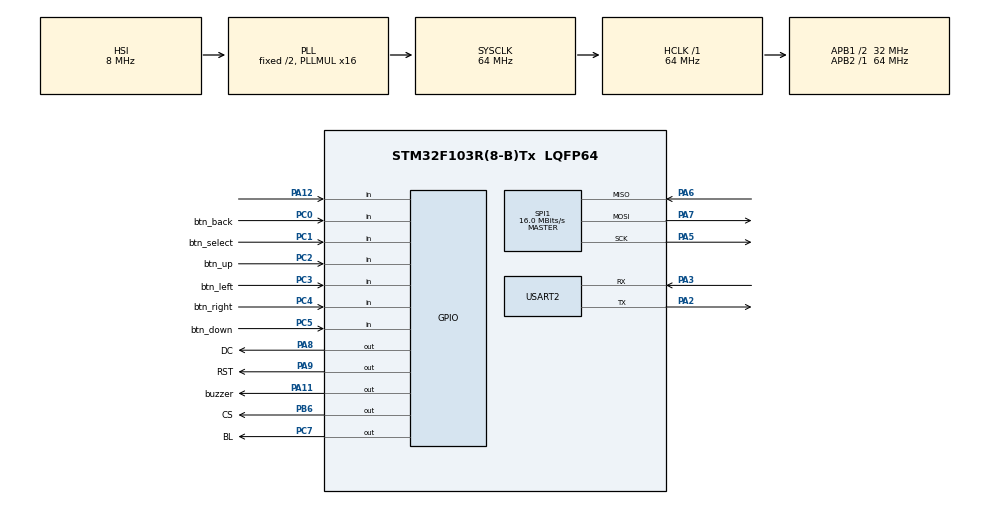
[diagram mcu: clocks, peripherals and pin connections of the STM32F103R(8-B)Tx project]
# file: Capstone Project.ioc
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Mcu.Family=STM32F1
Mcu.Name=STM32F103R(8-B)Tx
Mcu.Package=LQFP64
NVIC.PriorityGroup=NVIC_PRIORITYGROUP_4
PA11.GPIO_Label=buzzer
PA11.Signal=GPIO_Output
PA12.Signal=GPIO_Input
PA13.Mode=Serial_Wire
PA13.Signal=SYS_JTMS-SWDIO
PA14.Mode=Serial_Wire
PA14.Signal=SYS_JTCK-SWCLK
PA2.Mode=Asynchronous
PA2.Signal=USART2_TX
PA3.Mode=Asynchronous
PA3.Signal=USART2_RX
PA5.Mode=Full_Duplex_Master
PA5.Signal=SPI1_SCK
PA6.Mode=Full_Duplex_Master
PA6.Signal=SPI1_MISO
PA7.Mode=Full_Duplex_Master
PA7.Signal=SPI1_MOSI
PA8.GPIO_Label=DC
PA8.PinState=GPIO_PIN_SET
PA8.Signal=GPIO_Output
PA9.GPIO_Label=RST
PA9.PinState=GPIO_PIN_SET
PA9.Signal=GPIO_Output
PB6.GPIO_Label=CS
PB6.PinState=GPIO_PIN_SET
PB6.Signal=GPIO_Output
PC0.GPIO_Label=btn_back
PC0.Signal=GPIO_Input
PC1.GPIO_Label=btn_select
PC1.Signal=GPIO_Input
PC2.GPIO_Label=btn_up
PC2.Signal=GPIO_Input
PC3.GPIO_Label=btn_left
PC3.Signal=GPIO_Input
PC4.GPIO_Label=btn_right
PC4.Signal=GPIO_Input
PC5.GPIO_Label=btn_down
PC5.Signal=GPIO_Input
PC7.GPIO_Label=BL
PC7.PinState=GPIO_PIN_SET
PC7.Signal=GPIO_Output
PD0-OSC_IN.Mode=HSE-External-Clock-Source
PD0-OSC_IN.Signal=RCC_OSC_IN
PD1-OSC_OUT.Mode=HSE-External-Clock-Source
PD1-OSC_OUT.Signal=RCC_OSC_OUT
ProjectManager.HeapSize=0x200
ProjectManager.StackSize=0x400
ProjectManager.TargetToolchain=STM32CubeIDE
RCC.AHBFreq_Value=64000000
RCC.APB1CLKDivider=RCC_HCLK_DIV2
RCC.APB1Freq_Value=32000000
RCC.APB1TimFreq_Value=64000000
RCC.APB2Freq_Value=64000000
RCC.APB2TimFreq_Value=64000000
RCC.HCLKFreq_Value=64000000
RCC.PLLMUL=RCC_PLL_MUL16
RCC.RTCClockSelection=RCC_RTCCLKSOURCE_LSE
RCC.SYSCLKFreq_VALUE=64000000
RCC.SYSCLKSource=RCC_SYSCLKSOURCE_PLLCLK
RCC.USBFreq_Value=64000000
SPI1.BaudRatePrescaler=SPI_BAUDRATEPRESCALER_4
SPI1.CalculateBaudRate=16.0 MBits/s
SPI1.Direction=SPI_DIRECTION_2LINES
SPI1.Mode=SPI_MODE_MASTER
SPI1.VirtualType=VM_MASTER
USART2.VirtualMode=VM_ASYNC
board=NUCLEO-F103RB

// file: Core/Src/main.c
/* USER CODE BEGIN Header */
/**
 ******************************************************************************
 * @file           : main.c
 * @brief          : Main program body
 ******************************************************************************
 * @attention
 *
 * Copyright (c) 2025 STMicroelectronics.
 * All rights reserved.
 *
 * This software is licensed under terms that can be found in the LICENSE file
 * in the root directory of this software component.
 * If no LICENSE file comes with this software, it is provided AS-IS.
 *
 ******************************************************************************
 */
/* USER CODE END Header */
#include "main.h"

/* USER CODE BEGIN Includes */
#include <string.h>
#include <time.h>
#include <stdlib.h>

#include "menu_main.h"
#include "lcd_driver.h"
#include "input.h"
#include "buzzer_driver.h"

/* USER CODE END Includes */

/* USER CODE BEGIN PD */

#define MENU_ITEMS     2

#define LCD_CS_Pin GPIO_PIN_6

#define LCD_CS_GPIO_Port GPIOB

#define LCD_DC_Pin GPIO_PIN_8

#define LCD_DC_GPIO_Port GPIOA

#define LCD_RST_Pin GPIO_PIN_9

#define LCD_RST_GPIO_Port GPIOA
/* USER CODE END PD */

SPI_HandleTypeDef hspi1;

UART_HandleTypeDef huart2;

void SystemClock_Config(void);
static void MX_GPIO_Init(void);
static void MX_SPI1_Init(void);
static void MX_USART2_UART_Init(void);

/* USER CODE BEGIN 0 */
void SystemClock_Config(void);

static void MX_GPIO_Init(void);

static void MX_SPI1_Init(void);

/* USER CODE END 0 */

int main(void) {

	/* MCU Configuration--------------------------------------------------------*/

	/* Reset of all peripherals, Initializes the Flash interface and the Systick. */
	HAL_Init();

	/* Configure the system clock */
	SystemClock_Config();

	/* Initialize all configured peripherals */
	MX_GPIO_Init();
	MX_SPI1_Init();
	MX_USART2_UART_Init();
	/* USER CODE BEGIN 2 */
	// Initialize random seed only once
//  srand(time(NULL));
//  displayStartup();
	// Initialize the LCD
	LCD_Init();

	// Clear the screen to black
	LCD_Clear(BLACK);

	// Test 1: Draw a red 50x50 square at (10, 10)
	LCD_SetWindow(10, 10, 59, 59); // 50x50 area
	uint8_t red_data[50 * 50 * 2]; // 2 bytes per pixel
	for (uint32_t i = 0; i < 50 * 50; i++) {
		red_data[i * 2] = RED >> 8;      // High byte
		red_data[i * 2 + 1] = RED & 0xFF; // Low byte
	}
	LCD_WriteDataBlock(red_data, 50 * 50 * 2);

	// Test 2: Draw a green 30x30 square at (70, 70)
	LCD_SetWindow(70, 70, 99, 99); // 30x30 area
	uint8_t green_data[30 * 30 * 2];
	for (uint32_t i = 0; i < 30 * 30; i++) {
		green_data[i * 2] = GREEN >> 8;
		green_data[i * 2 + 1] = GREEN & 0xFF;
	}
	LCD_WriteDataBlock(green_data, 30 * 30 * 2);

	// Test 3: Draw a blue 20x20 square at (110, 110)
	LCD_SetWindow(110, 110, 129, 129); // 20x20 area
	uint8_t blue_data[20 * 20 * 2];
	for (uint32_t i = 0; i < 20 * 20; i++) {
		blue_data[i * 2] = BLUE >> 8;
		blue_data[i * 2 + 1] = BLUE & 0xFF;
	}
	LCD_WriteDataBlock(blue_data, 20 * 20 * 2);

	// Infinite loop to keep display visible
	while (1) {
		HAL_Delay(1000); // Optional: just to keep the MCU alive
	}
	// BUZZER TEST PROGRAM
//	while (1) {
//	    toggle_PA11();  // Toggle PA                                                                                                                                                                                                                                                                                                                                                                                                                                                                                                                                                                                                                                                                                                       11
//	    HAL_Delay(5); // 5ms delay
//	}
	/* USER CODE END 2 */

	/* Infinite loop */
	while (1) {
//		displayMenu();
	}
}

void SystemClock_Config(void) {
	RCC_OscInitTypeDef RCC_OscInitStruct = { 0 };
	RCC_ClkInitTypeDef RCC_ClkInitStruct = { 0 };

	/** Initializes the RCC Oscillators according to the specified parameters
	 * in the RCC_OscInitTypeDef structure.
	 */
	RCC_OscInitStruct.OscillatorType = RCC_OSCILLATORTYPE_HSI;
	RCC_OscInitStruct.HSIState = RCC_HSI_ON;
	RCC_OscInitStruct.HSICalibrationValue = RCC_HSICALIBRATION_DEFAULT;
	RCC_OscInitStruct.PLL.PLLState = RCC_PLL_ON;
	RCC_OscInitStruct.PLL.PLLSource = RCC_PLLSOURCE_HSI_DIV2;
	RCC_OscInitStruct.PLL.PLLMUL = RCC_PLL_MUL16;
	if (HAL_RCC_OscConfig(&RCC_OscInitStruct) != HAL_OK) {
		Error_Handler();
	}

	/** Initializes the CPU, AHB and APB buses clocks
	 */
	RCC_ClkInitStruct.ClockType = RCC_CLOCKTYPE_HCLK | RCC_CLOCKTYPE_SYSCLK
			| RCC_CLOCKTYPE_PCLK1 | RCC_CLOCKTYPE_PCLK2;
	RCC_ClkInitStruct.SYSCLKSource = RCC_SYSCLKSOURCE_PLLCLK;
	RCC_ClkInitStruct.AHBCLKDivider = RCC_SYSCLK_DIV1;
	RCC_ClkInitStruct.APB1CLKDivider = RCC_HCLK_DIV2;
	RCC_ClkInitStruct.APB2CLKDivider = RCC_HCLK_DIV1;

	if (HAL_RCC_ClockConfig(&RCC_ClkInitStruct, FLASH_LATENCY_2) != HAL_OK) {
		Error_Handler();
	}
}

static void MX_SPI1_Init(void) {

	/* SPI1 parameter configuration*/
	hspi1.Instance = SPI1;
	hspi1.Init.Mode = SPI_MODE_MASTER;
	hspi1.Init.Direction = SPI_DIRECTION_2LINES;
	hspi1.Init.DataSize = SPI_DATASIZE_8BIT;
	hspi1.Init.CLKPolarity = SPI_POLARITY_LOW;
	hspi1.Init.CLKPhase = SPI_PHASE_1EDGE;
	hspi1.Init.NSS = SPI_NSS_SOFT;
	hspi1.Init.BaudRatePrescaler = SPI_BAUDRATEPRESCALER_4;
	hspi1.Init.FirstBit = SPI_FIRSTBIT_MSB;
	hspi1.Init.TIMode = SPI_TIMODE_DISABLE;
	hspi1.Init.CRCCalculation = SPI_CRCCALCULATION_DISABLE;
	hspi1.Init.CRCPolynomial = 10;
	if (HAL_SPI_Init(&hspi1) != HAL_OK) {
		Error_Handler();
	}

}

static void MX_USART2_UART_Init(void) {

	huart2.Instance = USART2;
	huart2.Init.BaudRate = 115200;
	huart2.Init.WordLength = UART_WORDLENGTH_8B;
	huart2.Init.StopBits = UART_STOPBITS_1;
	huart2.Init.Parity = UART_PARITY_NONE;
	huart2.Init.Mode = UART_MODE_TX_RX;
	huart2.Init.HwFlowCtl = UART_HWCONTROL_NONE;
	huart2.Init.OverSampling = UART_OVERSAMPLING_16;
	if (HAL_UART_Init(&huart2) != HAL_OK) {
		Error_Handler();
	}

}

static void MX_GPIO_Init(void) {
	GPIO_InitTypeDef GPIO_InitStruct = { 0 };

	/* GPIO Ports Clock Enable */
	__HAL_RCC_GPIOD_CLK_ENABLE();
	__HAL_RCC_GPIOC_CLK_ENABLE();
	__HAL_RCC_GPIOA_CLK_ENABLE();
	__HAL_RCC_GPIOB_CLK_ENABLE();

	/*Configure GPIO pin Output Level */
	HAL_GPIO_WritePin(BL_GPIO_Port, BL_Pin, GPIO_PIN_SET);

	/*Configure GPIO pin Output Level */
	HAL_GPIO_WritePin(GPIOA, DC_Pin | RST_Pin, GPIO_PIN_SET);

	/*Configure GPIO pin Output Level */
	HAL_GPIO_WritePin(buzzer_GPIO_Port, buzzer_Pin, GPIO_PIN_RESET);

	/*Configure GPIO pin Output Level */
	HAL_GPIO_WritePin(CS_GPIO_Port, CS_Pin, GPIO_PIN_SET);

	/*Configure GPIO pins : btn_back_Pin btn_select_Pin btn_up_Pin btn_left_Pin
	 btn_right_Pin btn_down_Pin */
	GPIO_InitStruct.Pin = btn_back_Pin | btn_select_Pin | btn_up_Pin
			| btn_left_Pin | btn_right_Pin | btn_down_Pin;
	GPIO_InitStruct.Mode = GPIO_MODE_INPUT;
	GPIO_InitStruct.Pull = GPIO_NOPULL;
	HAL_GPIO_Init(GPIOC, &GPIO_InitStruct);

	/*Configure GPIO pin : BL_Pin */
	GPIO_InitStruct.Pin = BL_Pin;
	GPIO_InitStruct.Mode = GPIO_MODE_OUTPUT_PP;
	GPIO_InitStruct.Pull = GPIO_NOPULL;
	GPIO_InitStruct.Speed = GPIO_SPEED_FREQ_LOW;
	HAL_GPIO_Init(BL_GPIO_Port, &GPIO_InitStruct);

	/*Configure GPIO pins : DC_Pin RST_Pin buzzer_Pin */
	GPIO_InitStruct.Pin = DC_Pin | RST_Pin | buzzer_Pin;
	GPIO_InitStruct.Mode = GPIO_MODE_OUTPUT_PP;
	GPIO_InitStruct.Pull = GPIO_NOPULL;
	GPIO_InitStruct.Speed = GPIO_SPEED_FREQ_LOW;
	HAL_GPIO_Init(GPIOA, &GPIO_InitStruct);

	/*Configure GPIO pin : PA12 */
	GPIO_InitStruct.Pin = GPIO_PIN_12;
	GPIO_InitStruct.Mode = GPIO_MODE_INPUT;
	GPIO_InitStruct.Pull = GPIO_NOPULL;
	HAL_GPIO_Init(GPIOA, &GPIO_InitStruct);

	/*Configure GPIO pin : CS_Pin */
	GPIO_InitStruct.Pin = CS_Pin;
	GPIO_InitStruct.Mode = GPIO_MODE_OUTPUT_PP;
	GPIO_InitStruct.Pull = GPIO_NOPULL;
	GPIO_InitStruct.Speed = GPIO_SPEED_FREQ_LOW;
	HAL_GPIO_Init(CS_GPIO_Port, &GPIO_InitStruct);

}

/* USER CODE BEGIN 4 */
void print(char *str) {
	// Calculate the length of the string
	uint16_t len = strlen(str);

	// Transmit the string over UART2
	HAL_UART_Transmit(&huart2, (uint8_t*) str, len, HAL_MAX_DELAY);
}
/* USER CODE END 4 */

void Error_Handler(void) {
	__disable_irq();
	while (1) {
	}
}
